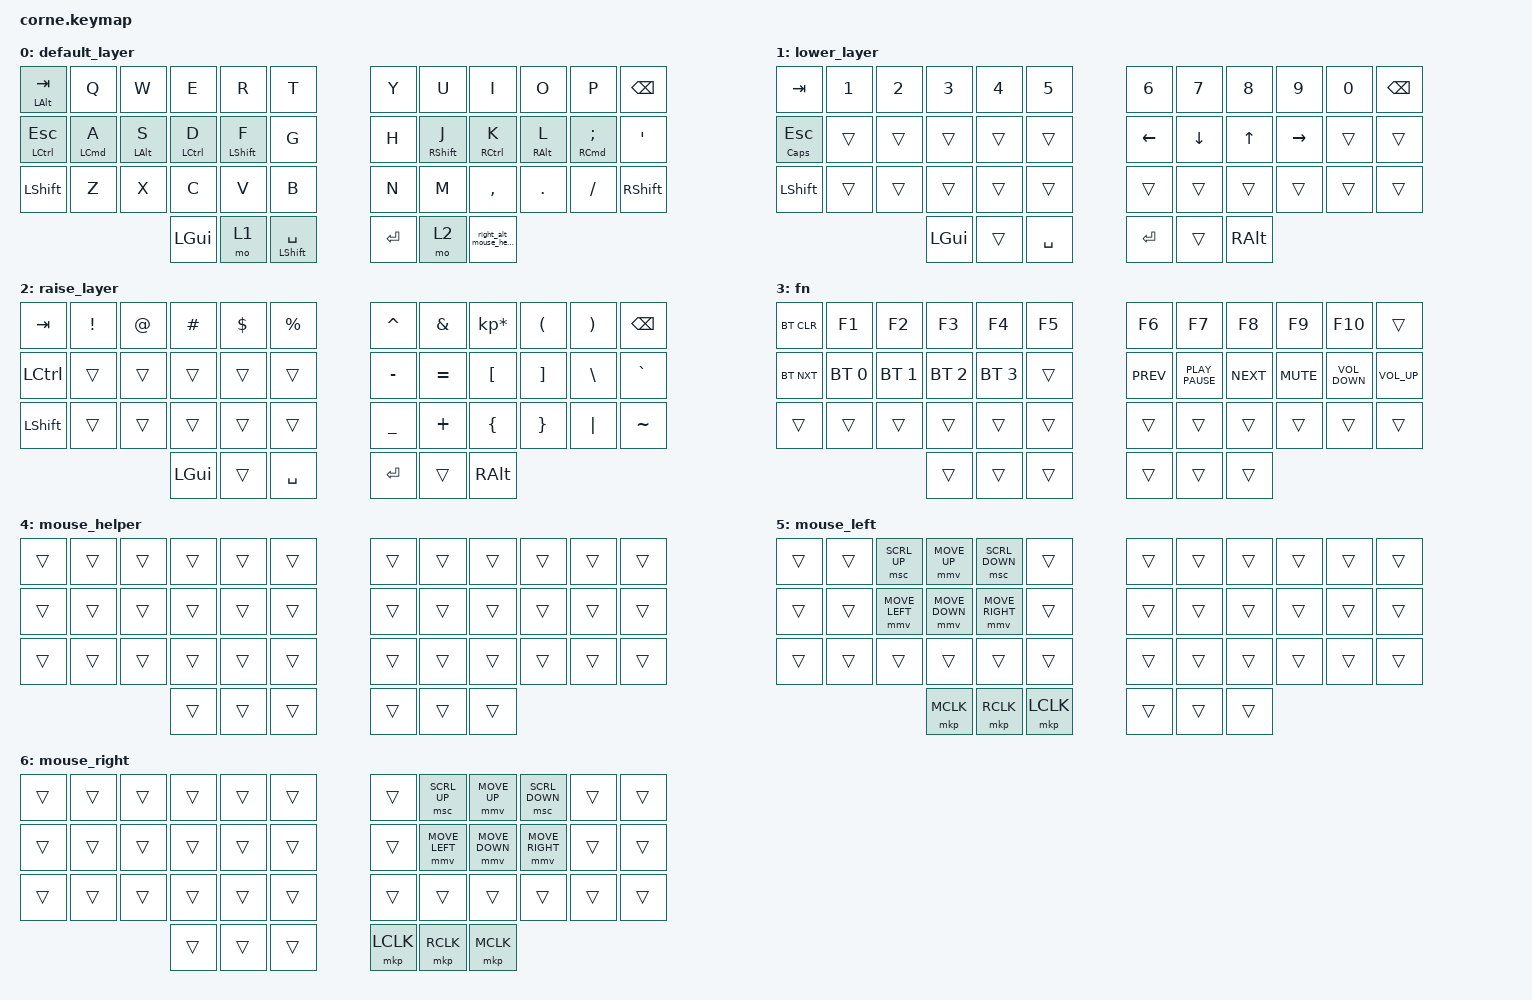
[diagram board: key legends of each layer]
/*
 * Copyright (c) 2020 The ZMK Contributors
 *
 * SPDX-License-Identifier: MIT
 */

#include <behaviors.dtsi>
#include <dt-bindings/zmk/bt.h>
#include <dt-bindings/zmk/keys.h>
#include <dt-bindings/zmk/pointing.h>

#define MOUSE_HELPER 4
#define MOUSE_LEFT 5
#define MOUSE_RIGHT 6

/ {
    combos {
        compatible = "zmk,combos";

        sys_reset_l {
            bindings = <&sys_reset>;
            key-positions = <1 12 24 5>;
            layers = <1>;
        };

        to_layer_3 {
            bindings = <&sl 3>;
            key-positions = <2 3>;
            layers = <1>;
        };

        mouse_left_toggle {
            bindings = <&tog MOUSE_LEFT>;
            key-positions = <1 5>; // Q + T
            layers = <MOUSE_HELPER MOUSE_LEFT>;
            timeout-ms = <50>;
        };

        mouse_right_toggle {
            bindings = <&tog MOUSE_RIGHT>;
            key-positions = <6 10>; // Y + P
            layers = <MOUSE_HELPER MOUSE_RIGHT>;
            timeout-ms = <50>;
        };

        combo_bt_next {
            bindings = <&bt BT_NXT>;
            key-positions = <0 5>;
            layers = <1>;
        };
    };

    macros {
        right_alt_mouse_helper: right_alt_mouse_helper {
            compatible = "zmk,behavior-macro";
            #binding-cells = <0>;
            wait-ms = <0>;
            bindings = <&macro_press &mo MOUSE_HELPER &kp RALT>,
                       <&macro_pause_for_release>,
                       <&macro_release &kp RALT &mo MOUSE_HELPER>;
        };
    };

    behaviors {
        hrm: hrm {
            compatible = "zmk,behavior-hold-tap";
            label = "HRM";
            bindings = <&kp>, <&kp>;

            #binding-cells = <2>;
            tapping-term-ms = <150>;
            quick-tap-ms = <275>;
            flavor = "balanced";
        };

        hml: hml {
            compatible = "zmk,behavior-hold-tap";
            label = "HML";
            bindings = <&kp>, <&kp>;

            #binding-cells = <2>;
            require-prior-idle-ms = <140>;
            tapping-term-ms = <250>;
            quick-tap-ms = <275>;
            hold-trigger-key-positions = <19 20 21 22 30 18 6 7 8 9 10 11 23 35 34 33 31 32 41 40 39>;
            flavor = "balanced";
        };

        hmr: hmr {
            compatible = "zmk,behavior-hold-tap";
            label = "HMR";
            bindings = <&kp>, <&kp>;

            #binding-cells = <2>;
            require-prior-idle-ms = <140>;
            tapping-term-ms = <250>;
            quick-tap-ms = <275>;
            flavor = "balanced";
            hold-trigger-key-positions = <38 37 36 29 28 27 26 25 24 12 0 1 13 14 2 3 15 16 4 5 17>;
        };
    };

    keymap {
        compatible = "zmk,keymap";

        default_layer {
            // -----------------------------------------------------------------------------------------
            // |  TAB |  Q  |  W  |  E  |  R  |  T  |   |  Y  |  U   |  I  |  O  |  P  | BKSP |
            // | CTRL |  A  |  S  |  D  |  F  |  G  |   |  H  |  J   |  K  |  L  |  ;  |  '   |
            // | SHFT |  Z  |  X  |  C  |  V  |  B  |   |  N  |  M   |  ,  |  .  |  /  | ESC  |
            //                    | GUI | LWR | SPC |   | ENT | RSE  | ALT |

            bindings = <
&mt LEFT_ALT TAB  &kp Q                &kp W            &kp E         &kp R              &kp T                   &kp Y    &kp U               &kp I         &kp O        &kp P                    &kp BSPC
&mt LCTRL ESC     &hml LEFT_COMMAND A  &hml LEFT_ALT S  &hml LCTRL D  &hml LEFT_SHIFT F  &kp G                   &kp H    &hrm RIGHT_SHIFT J  &hrm RCTRL K  &hmr RALT L  &hmr RIGHT_COMMAND SEMI  &kp SQT
&kp LSHFT         &kp Z                &kp X            &kp C         &kp V              &kp B                   &kp N    &kp M               &kp COMMA     &kp DOT      &kp FSLH                 &kp RIGHT_SHIFT
                                                        &kp LGUI      &mo 1              &mt LEFT_SHIFT SPACE    &kp RET  &mo 2               &right_alt_mouse_helper
            >;
        };

        lower_layer {
            // -----------------------------------------------------------------------------------------
            // |  TAB |  1  |  2  |  3  |  4  |  5  |   |  6  |  7  |  8  |  9  |  0  | BKSP |
            // | BTCLR| BT1 | BT2 | BT3 | BT4 | BT5 |   | LFT | DWN |  UP | RGT |     |      |
            // | SHFT |     |     |     |     |     |   |     |     |     |     |     |      |
            //                    | GUI |     | SPC |   | ENT |     | ALT |

            bindings = <
&kp TAB          &kp N1  &kp N2  &kp N3    &kp N4  &kp N5       &kp N6    &kp N7    &kp N8    &kp N9     &kp N0  &kp BSPC
&mt CAPS ESCAPE  &trans  &trans  &trans    &trans  &trans       &kp LEFT  &kp DOWN  &kp UP    &kp RIGHT  &trans  &trans
&kp LSHFT        &trans  &trans  &trans    &trans  &trans       &trans    &trans    &trans    &trans     &trans  &trans
                                 &kp LGUI  &trans  &kp SPACE    &kp RET   &trans    &kp RALT
            >;
        };

        raise_layer {
            // -----------------------------------------------------------------------------------------
            // |  TAB |  !  |  @  |  #  |  $  |  %  |   |  ^  |  &  |  *  |  (  |  )  | BKSP |
            // | CTRL |     |     |     |     |     |   |  -  |  =  |  [  |  ]  |  \  |  `   |
            // | SHFT |     |     |     |     |     |   |  _  |  +  |  {  |  }  | "|" |  ~   |
            //                    | GUI |     | SPC |   | ENT |     | ALT |

            bindings = <
&kp TAB    &kp EXCL  &kp AT  &kp HASH  &kp DLLR  &kp PRCNT    &kp CARET  &kp AMPS   &kp KP_MULTIPLY  &kp LPAR  &kp RPAR  &kp BSPC
&kp LCTRL  &trans    &trans  &trans    &trans    &trans       &kp MINUS  &kp EQUAL  &kp LBKT         &kp RBKT  &kp BSLH  &kp GRAVE
&kp LSHFT  &trans    &trans  &trans    &trans    &trans       &kp UNDER  &kp PLUS   &kp LBRC         &kp RBRC  &kp PIPE  &kp TILDE
                             &kp LGUI  &trans    &kp SPACE    &kp RET    &trans     &kp RALT
            >;
        };

        fn {
            bindings = <
&bt BT_CLR  &kp F1        &kp F2        &kp F3        &kp F4        &kp F5    &kp F6      &kp F7            &kp F8      &kp F9      &kp F10            &trans
&bt BT_NXT  &bt BT_SEL 0  &bt BT_SEL 1  &bt BT_SEL 2  &bt BT_SEL 3  &trans    &kp K_PREV  &kp K_PLAY_PAUSE  &kp K_NEXT  &kp K_MUTE  &kp K_VOLUME_DOWN  &kp C_VOLUME_UP
&trans      &trans        &trans        &trans        &trans        &trans    &trans      &trans            &trans      &trans      &trans             &trans
                                        &trans        &trans        &trans    &trans      &trans            &trans
            >;
        };

        // Active only while right Alt is held; transparent bindings retain all keys.
        mouse_helper {
            bindings = <
&trans &trans &trans &trans &trans &trans    &trans &trans &trans &trans &trans &trans
&trans &trans &trans &trans &trans &trans    &trans &trans &trans &trans &trans &trans
&trans &trans &trans &trans &trans &trans    &trans &trans &trans &trans &trans &trans
                     &trans &trans &trans    &trans &trans &trans
            >;
        };

        mouse_left {
            bindings = <
&trans &trans &msc SCRL_UP &mmv MOVE_UP &msc SCRL_DOWN &trans    &trans &trans &trans &trans &trans &trans
&trans &trans &mmv MOVE_LEFT &mmv MOVE_DOWN &mmv MOVE_RIGHT &trans    &trans &trans &trans &trans &trans &trans
&trans &trans &trans &trans &trans &trans    &trans &trans &trans &trans &trans &trans
                           &mkp MCLK &mkp RCLK &mkp LCLK    &trans &trans &trans
            >;
        };

        mouse_right {
            bindings = <
&trans &trans &trans &trans &trans &trans    &trans &msc SCRL_UP &mmv MOVE_UP &msc SCRL_DOWN &trans &trans
&trans &trans &trans &trans &trans &trans    &trans &mmv MOVE_LEFT &mmv MOVE_DOWN &mmv MOVE_RIGHT &trans &trans
&trans &trans &trans &trans &trans &trans    &trans &trans &trans &trans &trans &trans
                           &trans &trans &trans    &mkp LCLK &mkp RCLK &mkp MCLK
            >;
        };
    };
};
